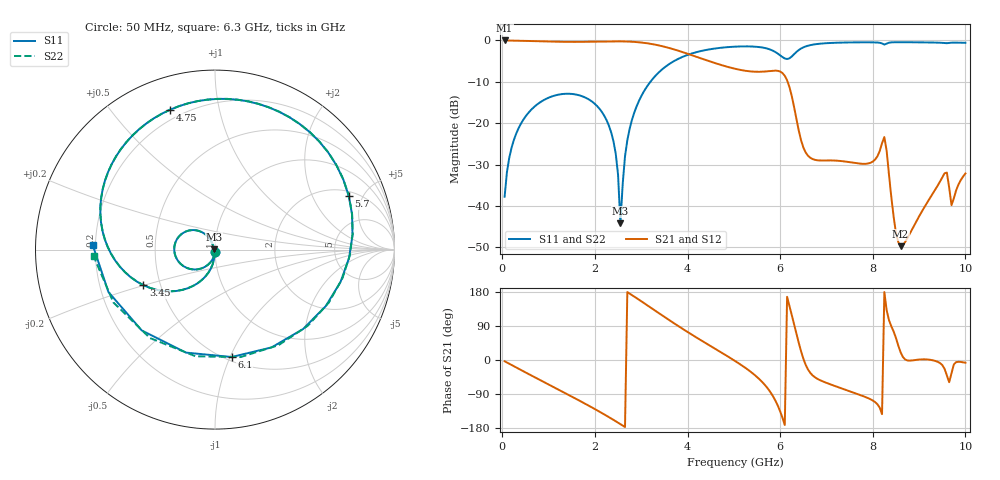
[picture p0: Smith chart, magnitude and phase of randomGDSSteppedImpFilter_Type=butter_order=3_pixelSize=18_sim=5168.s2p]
! freq	dB(S11)	phase(S11)	dB(S12)	phase(S12)
!  dB(S21)	phase(S21)	dB(S22)	phase(S22)
!S-par simulation data
#  GHz  S  DB  R 50
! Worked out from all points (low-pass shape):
!   200 points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, 50 MHz to 10 GHz, reference 50 ohm
!   highest |S21| = -0.01 dB at 50 MHz (marker M1); lowest = -49.7 dB at 8.6 GHz (marker M2)
!   |S21| within 3 dB of the highest: start of sweep to 3.944 GHz
!   lowest |S11| = -44.2 dB at 2.55 GHz (marker M3), VSWR 1.01, Z = 49.4 + j0.208 ohm
!   |S11| at or under -10 dB: start of sweep to 3.198 GHz
!   |S22| runs from -43.8 to -0.4 dB; largest |S21 - S12| = 0
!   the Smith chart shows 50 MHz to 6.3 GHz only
!   S11 on the Smith chart (normalised r, x): 50 MHz: 1.00, -0.03; 3.45 GHz: 0.40, -0.20; 4.75 GHz: 0.15, +0.72; 5.7 GHz: 2.32, +3.88; 6.1 GHz: 0.54, -1.01; 6.3 GHz: 0.19, +0.02
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0.05  -37.76 -92.6  -0.01 -3.3  -0.01 -3.3  -37.75 -92.2
0.55  -17.68 -126.3  -0.13 -35.9  -0.13 -35.9  -17.68 -126.2
1.75  -13.59 157.0  -0.34 -112.8  -0.34 -112.8  -13.59 157.1
2.35  -22.16 118.0  -0.23 -154.2  -0.23 -154.2  -22.16 118.2
2.5  -32.46 115.2  -0.22 -165.4  -0.22 -165.4  -32.43 116.1
2.55  -44.20 160.1  -0.23 -169.2  -0.23 -169.2  -43.75 161.8
2.75  -21.34 -99.3  -0.29 175.3  -0.29 175.3  -21.33 -99.6
3.4  -7.51 -149.6  -1.25 122.1  -1.25 122.1  -7.51 -149.7
3.45  -7.01 -153.7  -1.38 117.9  -1.38 117.9  -7.01 -153.7
4.1  -3.13 155.3  -3.60 66.3  -3.60 66.3  -3.13 155.3
4.75  -1.74 107.7  -6.01 18.3  -6.01 18.3  -1.74 107.7
5.05  -1.49 85.4  -6.91 -4.4  -6.91 -4.4  -1.49 85.4
5.7  -1.91 21.8  -7.48 -70.2  -7.48 -70.2  -1.89 22.3
6.1  -4.36 -81.2  -8.55 -171.6  -8.55 -171.6  -4.22 -76.7
6.3  -3.33 177.9  -16.04 94.3  -16.04 94.3  -3.39 -176.8
6.5  -1.68 114.1  -25.83 3.8  -25.83 3.8  -1.74 117.0
6.7  -1.03 80.5  -28.66 -40.6  -28.66 -40.6  -1.05 82.3
7.35  -0.51 26.2  -29.18 -76.0  -29.18 -76.0  -0.52 26.8
8.25  -1.00 -17.3  -23.35 179.3  -23.35 179.3  -1.08 -16.9
8.35  -0.54 -19.2  -32.42 104.9  -32.42 104.9  -0.56 -18.5
8.6  -0.43 -30.1  -49.70 20.6  -49.70 20.6  -0.43 -29.6
10  -0.57 -76.3  -32.14 -7.2  -32.14 -7.2  -0.57 -75.9
